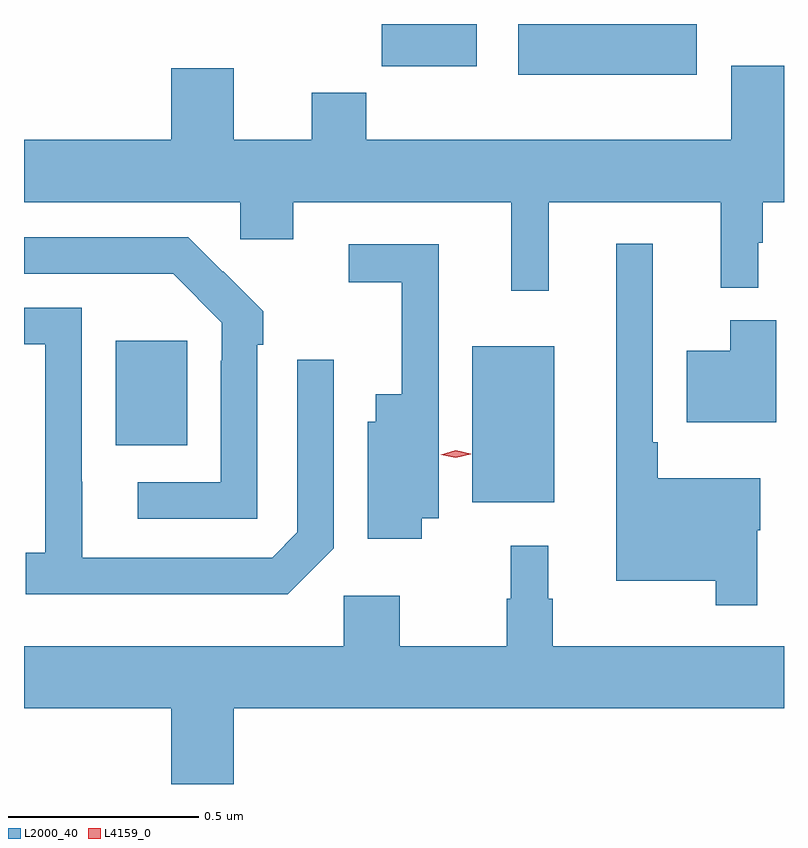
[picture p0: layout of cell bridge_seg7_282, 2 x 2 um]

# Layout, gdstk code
import gdstk
lib = gdstk.Library(unit=1e-6, precision=1e-09)
def R(c, l, rs):  # rectangles x0, y0, x1, y1
    for r in rs: c.add(gdstk.rectangle(r[:2], r[2:], *l))
def P(c, l, *ps):  # polygons
    for p in ps: c.add(gdstk.Polygon(p, *l))
L2000_40 = (2000, 40)
L4159_0 = (4159, 0)

bridge_seg7_282 = lib.new_cell('bridge_seg7_282')
R(bridge_seg7_282, L2000_40, [(129.836,1063.763,130.051,1064.173), (128.897,1063.913,129.085,1064.188), (129.957,1064.888,130.426,1065.021), (129.598,1064.91,129.847,1065.021)])
P(bridge_seg7_282, L2000_40, [(130.037,1064.552),(130.489,1064.552),(130.489,1064.327),(130.588,1064.327),(130.588,1064.445),(130.6,1064.445),(130.6,1064.552),(130.656,1064.552),(130.656,1064.911),(130.517,1064.911),(130.517,1064.716),(129.557,1064.716),(129.557,1064.84),(129.413,1064.84),(129.413,1064.716),(129.208,1064.716),(129.208,1064.905),(129.044,1064.905),(129.044,1064.716),(128.656,1064.716),(128.656,1064.552),(129.225,1064.552),(129.225,1064.454),(129.364,1064.454),(129.364,1064.552),(129.938,1064.552),(129.938,1064.319),(130.037,1064.319)],
  [(129.27,1064.177),(129.285,1064.177),(129.285,1064.265),(129.18,1064.37),(129.179,1064.369),(129.088,1064.46),(128.656,1064.46),(128.656,1064.364),(129.049,1064.364),(129.177,1064.235),(129.177,1064.135),(129.174,1064.135),(129.174,1063.815),(128.955,1063.815),(128.955,1063.719),(129.27,1063.719)],
  [(130.585,1063.689),(130.594,1063.689),(130.594,1063.825),(130.324,1063.825),(130.324,1063.921),(130.311,1063.921),(130.311,1064.443),(130.214,1064.443),(130.214,1063.556),(130.476,1063.556),(130.476,1063.491),(130.585,1063.491)],
  [(129.703,1063.721),(129.748,1063.721),(129.748,1063.943),(129.747,1063.943),(129.747,1064.442),(129.51,1064.442),(129.51,1064.341),(129.65,1064.341),(129.65,1064.047),(129.581,1064.047),(129.581,1063.974),(129.56,1063.974),(129.56,1063.667),(129.703,1063.667)],
  [(129.471,1063.641),(129.471,1064.137),(129.375,1064.137),(129.375,1063.683),(129.309,1063.617),(128.809,1063.617),(128.809,1063.817),(128.808,1063.817),(128.808,1064.274),(128.656,1064.274),(128.656,1064.178),(128.712,1064.178),(128.712,1063.63),(128.661,1063.63),(128.661,1063.52),(129.35,1063.52)],
  [(130.636,1064.242),(130.514,1064.242),(130.514,1064.161),(130.4,1064.161),(130.4,1063.973),(130.636,1063.973)],
  [(129.208,1063.22),(130.656,1063.22),(130.656,1063.384),(130.048,1063.384),(130.048,1063.508),(130.036,1063.508),(130.036,1063.648),(129.937,1063.648),(129.937,1063.508),(129.927,1063.508),(129.927,1063.384),(129.645,1063.384),(129.645,1063.516),(129.498,1063.516),(129.498,1063.384),(128.656,1063.384),(128.656,1063.22),(129.044,1063.22),(129.044,1063.021),(129.208,1063.021)])
P(bridge_seg7_282, L4159_0, [(129.792,1063.879),(129.753,1063.888),(129.752,1063.888),(129.753,1063.888),(129.792,1063.899),(129.831,1063.89),(129.831,1063.89),(129.831,1063.889)])

lib.write_gds('bridge_seg7_282.gds')
